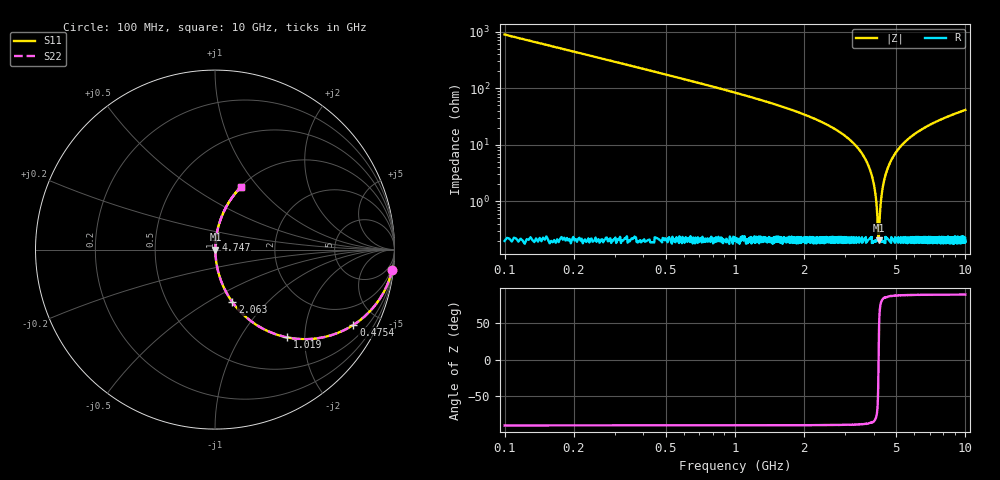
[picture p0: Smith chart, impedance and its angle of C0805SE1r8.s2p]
! AVX Thin Film Operation		Date: April 2012
! Description: Accu-P® Series, Thin Film, SMD, RF Capacitor
! Part Number: 08051J1R8PBTTR
!	100	MHz	-	10.05	GHz
!	Serial	Measurements
#	MHZ	S	MA	R	50
!	S11	S21	S12	S22
!	dB	Phase	dB	Phase	dB	Phase	dB	Phase
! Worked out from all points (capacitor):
!   4010 points, 100 MHz to 10 GHz, reference 50 ohm
!   read as one part in series: C = 1.8 pF near 149.4 MHz
!   lowest |Z| = 205 mohm at 4.199 GHz (marker M1)
!   series resonance near 4.199 GHz, so ESL is about 800 pH
!   S11 on the Smith chart (normalised r, x): 100 MHz: 1, -18; 475.4 MHz: 1.00, -3.67; 1.019 GHz: 1.00, -1.63; 2.063 GHz: 1.00, -0.65; 4.747 GHz: 1.00, +0.10; 10 GHz: 1.00, +0.83
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100  0.994 -6.5  0.112 83.5  0.112 83.5  0.994 -6.5
262.983  0.958 -16.6  0.286 73.3  0.286 73.3  0.958 -16.6
475.355  0.878 -28.6  0.478 61.4  0.478 61.4  0.878 -28.6
1018.633  0.632 -50.7  0.773 39.2  0.773 39.2  0.632 -50.7
1752.058  0.384 -67.1  0.921 22.6  0.921 22.6  0.384 -67.1
2063.208  0.309 -71.7  0.949 18.0  0.949 18.0  0.309 -71.7
3401.646  0.089 -83.6  0.994 5.1  0.994 5.1  0.089 -83.6
3735.021  0.049 -84.7  0.997 2.8  0.997 2.8  0.049 -84.7
3949.863  0.026 -83.9  0.998 1.5  0.998 1.5  0.026 -83.9
4073.335  0.013 -79.9  0.998 0.7  0.998 0.7  0.013 -79.9
4167.174  0.00381 -56.5  0.998 0.2  0.998 0.2  0.00381 -56.5
4199.277  0.0021 1.1  0.998 -0.0  0.998 -0.0  0.0021 1.1
4231.379  0.00386 56.9  0.998 -0.2  0.998 -0.2  0.00386 56.9
4310.402  0.011 78.6  0.998 -0.6  0.998 -0.6  0.011 78.6
4394.363  0.019 82.7  0.998 -1.1  0.998 -1.1  0.019 82.7
4532.652  0.032 84.4  0.997 -1.8  0.997 -1.8  0.032 84.4
4747.493  0.052 84.7  0.997 -3.0  0.997 -3.0  0.052 84.7
5051.235  0.078 84.0  0.995 -4.5  0.995 -4.5  0.078 84.0
5725.393  0.131 81.5  0.989 -7.5  0.989 -7.5  0.131 81.5
6700.823  0.2 77.9  0.978 -11.5  0.978 -11.5  0.2 77.9
8350.412  0.298 72.3  0.953 -17.3  0.953 -17.3  0.298 72.3
10000  0.381 67.3  0.923 -22.4  0.923 -22.4  0.381 67.3
